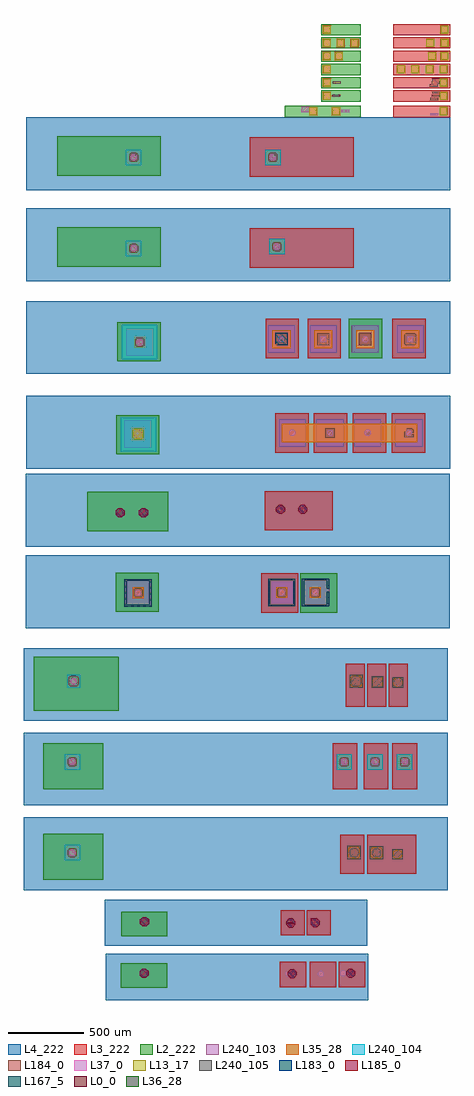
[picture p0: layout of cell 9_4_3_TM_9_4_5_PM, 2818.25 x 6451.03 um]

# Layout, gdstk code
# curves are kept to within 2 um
import gdstk
lib = gdstk.Library(unit=1e-6, precision=1e-09)
def R(c, l, rs):  # rectangles x0, y0, x1, y1
    for r in rs: c.add(gdstk.rectangle(r[:2], r[2:], *l))
def P(c, l, *ps):  # polygons
    for p in ps: c.add(gdstk.Polygon(p, *l))
L0_0 = (0, 0)
L2_222 = (2, 222)
L3_222 = (3, 222)
L4_222 = (4, 222)
L13_17 = (13, 17)
L35_28 = (35, 28)
L36_28 = (36, 28)
L37_0 = (37, 0)
L167_5 = (167, 5)
L183_0 = (183, 0)
L184_0 = (184, 0)
L185_0 = (185, 0)
L240_103 = (240, 103)
L240_104 = (240, 104)
L240_105 = (240, 105)

topcell_pm = lib.new_cell('TOPCELL_PM')
R(topcell_pm, L2_222, [(-1101.002,-186.753,-600.971,-112.014), (-860.529,-84.846,-600.971,-10.107), (-860.529,3.024,-600.971,77.763), (-860.529,91.69,-600.971,166.429), (-860.529,178.609,-600.971,253.348), (-860.529,267.539,-600.971,342.278), (-860.529,354.055,-600.971,428.794)])
R(topcell_pm, L3_222, [(-384.191,-186.753,-8.786,-112.014), (-384.191,-84.846,-8.786,-10.107), (-384.191,3.024,-8.786,77.763), (-384.191,91.69,-8.786,166.429), (-384.191,178.609,-8.786,253.348), (-384.191,267.539,-8.786,342.278), (-384.191,354.055,-8.786,428.794)])
R(topcell_pm, L13_17, [(-939.34,-172.776,-889.34,-122.776), (-788.179,-172.776,-738.179,-122.776), (-77.164,-172.776,-27.164,-122.776), (-849.322,-70.869,-799.322,-20.869), (-77.164,-70.869,-27.164,-20.869), (-849.322,17.001,-799.322,67.001), (-77.164,17.001,-27.164,67.001), (-849.322,104.544,-799.322,154.544), (-359.44,104.544,-309.44,154.544), (-265.312,104.544,-215.312,154.544), (-169.262,104.544,-119.262,154.544), (-76.676,104.544,-26.676,154.544), (-849.322,192.361,-799.322,242.361), (-769.322,192.361,-719.322,242.361), (-152.838,192.361,-102.838,242.361), (-72.839,192.361,-22.839,242.361), (-849.322,278.638,-799.322,328.638), (-757.502,278.638,-707.502,329.638), (-666.208,278.638,-615.208,328.638), (-165.52,278.638,-115.53,328.638), (-71.409,278.638,-21.409,328.628), (-849.322,366.976,-799.322,416.976), (-72.483,366.976,-22.483,416.966)])
R(topcell_pm, L35_28, [(-941.34,-174.776,-887.34,-120.776), (-790.179,-174.776,-736.179,-120.776), (-79.164,-174.776,-25.164,-120.776), (-851.322,-72.869,-797.322,-18.869), (-79.164,-72.869,-25.164,-18.869), (-851.322,15.001,-797.322,69.001), (-79.164,15.001,-25.164,69.001), (-851.322,102.144,-797.222,156.744), (-267.312,102.544,-213.312,154.534), (-169.262,102.544,-117.262,156.544), (-78.676,102.544,-24.686,156.544), (-361.44,104.534,-307.44,156.544), (-851.322,190.361,-797.322,244.361), (-771.322,190.361,-717.322,244.361), (-154.838,190.361,-100.838,244.361), (-74.839,190.361,-20.839,244.361), (-851.322,276.638,-797.322,330.638), (-759.502,276.638,-705.502,331.638), (-668.208,276.638,-613.208,330.638), (-167.52,276.638,-113.53,330.638), (-73.409,276.638,-19.409,330.628), (-851.322,364.976,-797.322,418.976), (-74.483,364.976,-20.483,418.976)])
R(topcell_pm, L37_0, [(-140.53,-175.509,-86.14,-159.796), (-939.34,-172.776,-889.34,-122.776), (-788.179,-172.776,-738.179,-122.776), (-77.164,-172.776,-27.164,-122.776), (-993.73,-155.189,-939.34,-139.476), (-729.179,-155.189,-674.789,-139.476), (-990.825,-135.462,-936.435,-119.749), (-849.322,-70.869,-799.322,-20.869), (-77.164,-70.869,-27.164,-20.869), (-849.322,17.001,-799.322,67.001), (-77.164,17.001,-27.164,67.001), (-849.322,104.544,-799.322,154.544), (-359.44,104.544,-309.44,154.544), (-265.312,104.544,-215.312,154.544), (-169.262,104.544,-119.262,154.544), (-76.676,104.544,-26.676,154.544), (-849.322,192.361,-799.322,242.361), (-769.322,192.361,-719.322,242.361), (-152.838,192.361,-102.838,242.361), (-72.839,192.361,-22.839,242.361), (-849.322,278.638,-799.322,328.638), (-757.502,278.638,-707.502,329.638), (-666.208,278.638,-615.208,328.638), (-165.52,278.638,-115.53,328.638), (-71.409,278.638,-21.409,328.628), (-849.322,366.976,-799.322,416.976), (-72.483,366.976,-22.483,416.976)])
R(topcell_pm, L184_0, [(-141.549,-73.602,-87.159,-57.889), (-789.322,-53.282,-734.932,-37.569), (-131.554,-53.282,-77.164,-37.569), (-128.649,-33.555,-74.259,-17.842), (-144.553,14.268,-90.163,29.981), (-786.322,34.588,-731.932,50.301), (-131.554,34.588,-77.164,50.301), (-128.649,54.315,-74.259,70.028)])
topcell_pm.add(gdstk.Label('PM.5c_WBOND_ONLY', (-299.024,-184.035), layer=11, texttype=222))
topcell_pm.add(gdstk.Label('PM.5b_GBUMP_ONLY', (-277.685,-82.128), layer=11, texttype=222))
topcell_pm.add(gdstk.Label('PM.5a_SBUMP_ONLY', (-288.949,5.742), layer=11, texttype=222))
topcell_pm.add(gdstk.Label('PM.5b_GBUMP_ONLY', (-717.323,-82.128), layer=11, texttype=222))
topcell_pm.add(gdstk.Label('PM.5c_WBOND_ONLY', (-820.844,-184.035), layer=11, texttype=222))
topcell_pm.add(gdstk.Label('PM.1', (-368.15,356.773), layer=11, texttype=222))
topcell_pm.add(gdstk.Label('PM.2', (-368.15,270.257), layer=11, texttype=222))
topcell_pm.add(gdstk.Label('PM.3', (-368.15,181.327), layer=11, texttype=222))
topcell_pm.add(gdstk.Label('PM.4', (-368.15,94.408), layer=11, texttype=222))
topcell_pm.add(gdstk.Label('PM.4', (-844.488,94.408), layer=11, texttype=222))
topcell_pm.add(gdstk.Label('PM.3', (-844.488,181.327), layer=11, texttype=222))
topcell_pm.add(gdstk.Label('PM.2', (-844.488,270.257), layer=11, texttype=222))
topcell_pm.add(gdstk.Label('PM.1', (-844.488,356.773), layer=11, texttype=222))
topcell_pm.add(gdstk.Label('PM.5a_SBUMP_ONLY', (-708.639,5.742), layer=11, texttype=222))
topcell_pm.add(gdstk.Label('1 Error', (-448.725,369.281), layer=12, texttype=222))
topcell_pm.add(gdstk.Label('2 Error', (-448.725,282.254), layer=12, texttype=222))
topcell_pm.add(gdstk.Label('1 Error', (-448.725,197.43), layer=12, texttype=222))
topcell_pm.add(gdstk.Label('4 Error', (-448.725,117.012), layer=12, texttype=222))
topcell_pm.add(gdstk.Label('For Solder Bump', (-448.725,22.837), layer=12, texttype=222))
topcell_pm.add(gdstk.Label('PM.5', (-449.188,50.211), layer=12, texttype=222))
topcell_pm.add(gdstk.Label('PM.4', (-449.188,140.215), layer=12, texttype=222))
topcell_pm.add(gdstk.Label('PM.3', (-449.188,223.968), layer=12, texttype=222))
topcell_pm.add(gdstk.Label('PM.2', (-449.188,310.221), layer=12, texttype=222))
topcell_pm.add(gdstk.Label('PM.1', (-449.188,396.475), layer=12, texttype=222))
topcell_pm.add(gdstk.Label('PM.5', (-449.188,-37.659), layer=12, texttype=222))
topcell_pm.add(gdstk.Label('For Gold Bump', (-448.725,-65.033), layer=12, texttype=222))
topcell_pm.add(gdstk.Label('For Wire Bond', (-448.725,-166.94), layer=12, texttype=222))
topcell_pm.add(gdstk.Label('PM.5', (-449.188,-139.566), layer=12, texttype=222))

topcell_tm = lib.new_cell('TOPCELL_TM')
R(topcell_tm, L0_0, [(429.49,396.91,469.88,401.85)])
R(topcell_tm, L2_222, [(-673.916,-28.003,-367.564,136.956), (-671.276,312.499,-364.924,477.458), (-1184.228,687.07,-789.16,991.684), (-1184.228,1286.46,-789.16,1591.074), (-1247.281,1803.21,-688.025,2162.732), (512.966,2452.051,756.456,2711.762), (-707.263,2457.214,-420.977,2716.925), (-893.748,2991.866,-359.132,3251.577), (-703.841,3498.386,-417.555,3758.097), (-696.741,4113.197,-410.455,4372.908), (835.056,4134.693,1054.786,4394.404), (-1094.878,4739.359,-410.455,4999.07), (-1094.878,5341.272,-410.455,5600.983)])
R(topcell_tm, L3_222, [(377.698,-22.112,553.614,144.321), (576.111,-22.112,752.027,144.321), (767.439,-22.112,943.355,144.321), (383.743,320.947,542.773,487.38), (557.064,320.947,716.094,487.38), (777.482,727.669,936.541,984.984), (954.959,727.669,1114.018,984.984), (1118.931,727.669,1277.99,984.984), (726.916,1286.46,890.12,1591.074), (931.81,1286.46,1095.014,1591.074), (1122.256,1286.46,1285.46,1591.074), (813.723,1831.887,939.046,2114.06), (955.969,1831.887,1081.292,2114.06), (1096.873,1831.887,1222.196,2114.06), (255.086,2452.051,498.576,2711.762), (278.157,2996.777,727.519,3256.488), (348.644,3511.073,570.385,3770.784), (602.182,3511.073,823.923,3770.784), (859.438,3511.073,1081.179,3770.784), (1118.916,3511.073,1340.657,3770.784), (283.358,4134.693,503.088,4394.404), (561.323,4134.693,781.053,4394.404), (1122.016,4134.693,1341.746,4394.404), (180.476,4733.336,864.899,4993.047), (180.476,5335.249,864.899,5594.96)])
R(topcell_tm, L4_222, [(-773.688,-107.466,962.508,198.141), (-780.287,250.193,955.909,555.8), (-1314.287,618.103,1488.446,1099.314), (-1314.287,1178.402,1488.446,1659.613), (-1314.287,1737.754,1488.446,2218.965), (-1302.141,2351.122,1500.592,2832.333), (-1302.141,2889.697,1500.592,3370.908), (-1298.767,3403.903,1503.966,3885.114), (-1298.767,4030.847,1503.966,4512.058), (-1298.767,4642.889,1503.966,5124.1), (-1298.767,5244.802,1503.966,5726.013)])
P(topcell_tm, L13_17, [(-585.484,3598.129),(-595.484,3608.129),(-595.484,3658.129),(-585.484,3668.129),(-535.484,3668.129),(-525.484,3658.129),(-525.484,3608.129),(-535.484,3598.129)])
R(topcell_tm, L35_28, [(989.046,1959.23,1059.046,2029.23), (-594.906,2547.086,-522.906,2619.086), (354.654,2549.89,426.654,2621.89), (576.932,2549.89,648.932,2621.89), (390.504,3580.149,1285.143,3701.951), (-601.484,3592.129,-519.484,3674.129), (424.627,3604.816,496.627,3676.816), (673.992,3604.816,745.992,3676.816), (923.008,3604.816,995.008,3676.816), (1195.046,3604.816,1267.046,3676.816), (328.758,4200.924,448.758,4320.924), (604.137,4200.924,724.137,4320.924), (883.37,4200.924,1003.37,4320.924), (1179.44,4200.924,1299.44,4320.924), (-584.384,4203.428,-512.384,4275.428)])
P(topcell_tm, L35_28, [(1154.621,1467.016),(1154.621,1495.974),(1172.621,1513.974),(1232.621,1513.974),(1250.621,1495.974),(1250.621,1467.016)],
  [(1172.621,1417.974),(1154.621,1435.974),(1154.621,1455.947),(1250.621,1455.947),(1250.621,1435.974),(1232.621,1417.974)],
  [(-1023.432,1417.974),(-1041.432,1435.974),(-1041.432,1495.974),(-1023.432,1513.974),(-963.432,1513.974),(-945.432,1495.974),(-945.432,1435.974),(-963.432,1417.974)],
  [(328.077,4824.431),(310.077,4842.431),(310.077,4902.431),(328.077,4920.431),(388.077,4920.431),(406.077,4902.431),(406.077,4842.431),(388.077,4824.431)],
  [(-618.056,5413.888),(-636.056,5431.888),(-636.056,5491.888),(-618.056,5509.888),(-558.056,5509.888),(-540.056,5491.888),(-540.056,5431.888),(-558.056,5413.888)],
  [(301.458,5413.888),(283.458,5431.888),(283.458,5491.888),(301.458,5509.888),(361.458,5509.888),(379.458,5491.888),(379.458,5431.888),(361.458,5413.888)],
  [(-618.056,4811.975),(-636.056,4829.975),(-636.056,4889.975),(-618.056,4907.975),(-558.056,4907.975),(-540.056,4889.975),(-540.056,4829.975),(-558.056,4811.975)],
  [(-1023.432,818.584),(-1041.432,836.584),(-1041.432,896.584),(-1023.432,914.584),(-963.432,914.584),(-945.432,896.584),(-945.432,836.584),(-963.432,818.584)],
  [(844.568,824.584),(826.568,842.584),(826.568,890.584),(844.568,908.584),(892.568,908.584),(910.568,890.584),(910.568,842.584),(892.568,824.584)],
  [(994.568,824.584),(976.568,842.584),(976.568,888.584),(994.568,906.584),(1040.568,906.584),(1058.568,888.584),(1058.568,842.584),(1040.568,824.584)],
  [(-1007.454,1959.13),(-1025.454,1977.13),(-1025.454,2022.73),(-1007.454,2040.73),(-961.854,2040.73),(-943.854,2022.73),(-943.854,1977.13),(-961.854,1959.13)],
  [(859.646,1959.23),(841.646,1977.23),(841.646,2022.63),(859.646,2040.63),(905.046,2040.63),(923.046,2022.63),(923.046,1977.23),(905.046,1959.23)],
  [(994.983,1454.635),(994.983,1482.462),(1015.79,1482.462),(1022.512,1475.74),(1022.512,1454.635)],
  [(1142.568,824.584),(1124.568,842.584),(1124.568,868.584),(1142.568,886.584),(1168.568,886.584),(1186.568,868.584),(1186.568,842.584),(1168.568,824.584)],
  [(1143.046,1959.23),(1125.046,1977.23),(1125.046,2005.23),(1143.046,2023.23),(1171.046,2023.23),(1189.046,2005.23),(1189.046,1977.23),(1171.046,1959.23)],
  [(773.607,1417.974),(755.607,1435.974),(755.607,1455.947),(782.867,1455.947),(782.867,1467.016),(755.607,1467.016),(755.607,1495.974),(773.607,1513.974),(833.607,1513.974),(851.607,1495.974),(851.607,1435.974),(833.607,1417.974)])
R(topcell_tm, L36_28, [(-556.056,4852.629,-555.796,4852.889), (-556.009,4853.935,-555.749,4854.195), (-560.316,4855.563,-560.056,4855.823), (-560.35,4856.902,-560.09,4857.162), (-562.642,4875.551,-562.382,4875.811), (329.409,4876.583,329.669,4876.843), (326.547,4878.211,326.807,4878.471), (-556.152,4878.847,-555.892,4879.107), (327.969,4879.517,328.229,4879.777), (327.817,4880.653,328.077,4880.913), (328.077,4881.52,328.337,4881.78), (330.041,4890.812,330.301,4891.072), (330.111,4893.2,330.371,4893.46), (332.138,4893.2,332.398,4893.46), (331.843,4894.465,332.103,4894.725), (-566.056,5454.216,-565.796,5454.476), (351.315,5454.216,351.575,5454.476), (-566.009,5455.522,-565.749,5455.782), (352.405,5455.522,352.665,5455.782), (-570.316,5457.15,-570.056,5457.41), (350.348,5457.15,350.608,5457.41), (-570.35,5458.489,-570.09,5458.749), (351.198,5458.489,351.458,5458.749), (351.458,5459.869,351.718,5460.129), (350.278,5473.068,350.538,5473.328), (347.942,5474.884,348.202,5475.144), (-577.784,5477.464,-577.524,5477.724), (344.193,5477.464,344.453,5477.724), (346.848,5477.489,347.108,5477.749), (-571.294,5480.76,-571.034,5481.02)])
R(topcell_tm, L37_0, [(644.137,4240.924,684.137,4280.924), (1219.44,4240.924,1259.44,4280.924)])
P(topcell_tm, L37_0, [(-531.467,3093.4),(-543.181,3105.114),(-543.181,3121.686),(-531.467,3133.4),(-514.895,3133.4),(-503.181,3121.686),(-503.181,3105.114),(-514.895,3093.4)],
  [(-686.333,3093.4),(-698.047,3105.114),(-698.047,3121.686),(-686.333,3133.4),(-669.761,3133.4),(-658.047,3121.686),(-658.047,3117.605),(-658.247,3117.605),(-658.247,3113.26),(-658.047,3113.26),(-658.047,3105.114),(-669.761,3093.4)],
  [(374.073,3114.954),(362.359,3126.668),(362.359,3143.24),(374.073,3154.954),(390.645,3154.954),(402.359,3143.24),(402.359,3126.668),(390.645,3114.954)],
  [(521.823,3114.954),(510.109,3126.668),(510.109,3130.749),(510.309,3130.749),(510.309,3135.094),(510.109,3135.094),(510.109,3143.24),(521.823,3154.954),(538.395,3154.954),(550.109,3143.24),(550.109,3126.668),(538.395,3114.954)],
  [(1192.621,1445.974),(1182.621,1455.974),(1182.621,1475.974),(1192.621,1485.974),(1212.621,1485.974),(1222.621,1475.974),(1222.621,1455.974),(1212.621,1445.974)],
  [(997.1,1445.974),(987.1,1455.974),(987.1,1475.974),(997.1,1485.974),(1017.1,1485.974),(1027.1,1475.974),(1027.1,1455.974),(1017.1,1445.974)],
  [(793.607,1445.974),(783.607,1455.974),(783.607,1475.974),(793.607,1485.974),(813.607,1485.974),(823.607,1475.974),(823.607,1455.974),(813.607,1445.974)],
  [(-1003.432,1445.974),(-1013.432,1455.974),(-1013.432,1475.974),(-1003.432,1485.974),(-983.432,1485.974),(-973.432,1475.974),(-973.432,1455.974),(-983.432,1445.974)],
  [(-524.944,390.362),(-536.658,402.076),(-536.658,418.648),(-524.944,430.362),(-508.372,430.362),(-496.658,418.648),(-496.658,402.076),(-508.372,390.362)],
  [(604.428,383.64),(592.714,395.354),(592.714,423.64),(621,423.64),(632.714,411.926),(632.714,395.354),(621,383.64)],
  [(441.509,381.425),(429.795,393.139),(429.795,397.22),(429.995,397.22),(429.995,401.565),(429.795,401.565),(429.795,409.711),(441.509,421.425),(458.081,421.425),(469.795,409.711),(469.795,393.139),(458.081,381.425)],
  [(787.344,49.944),(775.63,61.658),(775.63,78.23),(787.344,89.944),(803.916,89.944),(815.63,78.23),(815.63,61.658),(803.916,49.944)],
  [(640.75,45.376),(629.036,57.09),(629.036,73.662),(640.75,85.376),(657.322,85.376),(669.036,73.662),(669.036,57.09),(657.322,45.376)],
  [(424.754,47.108),(413.04,58.822),(413.04,75.394),(424.754,87.108),(441.326,87.108),(453.04,75.394),(453.04,58.822),(441.326,47.108)],
  [(-527.584,49.86),(-539.298,61.574),(-539.298,78.146),(-527.584,89.86),(-511.012,89.86),(-499.298,78.146),(-499.298,61.574),(-511.012,49.86)],
  [(348.077,4852.431),(338.077,4862.431),(338.077,4882.431),(348.077,4892.431),(368.077,4892.431),(378.077,4882.431),(378.077,4862.431),(368.077,4852.431)],
  [(-598.056,5441.888),(-608.056,5451.888),(-608.056,5471.888),(-598.056,5481.888),(-578.056,5481.888),(-568.056,5471.888),(-568.056,5451.888),(-578.056,5441.888)],
  [(321.458,5441.888),(311.458,5451.888),(311.458,5471.888),(321.458,5481.888),(341.458,5481.888),(351.458,5471.888),(351.458,5451.888),(341.458,5441.888)],
  [(-598.056,4839.975),(-608.056,4849.975),(-608.056,4869.975),(-598.056,4879.975),(-578.056,4879.975),(-568.056,4869.975),(-568.056,4849.975),(-578.056,4839.975)],
  [(-1003.432,846.584),(-1013.432,856.584),(-1013.432,876.584),(-1003.432,886.584),(-983.432,886.584),(-973.432,876.584),(-973.432,856.584),(-983.432,846.584)],
  [(858.568,846.584),(848.568,856.584),(848.568,876.584),(858.568,886.584),(878.568,886.584),(888.568,876.584),(888.568,856.584),(878.568,846.584)],
  [(1007.568,845.584),(997.568,855.584),(997.568,875.584),(1007.568,885.584),(1027.568,885.584),(1037.568,875.584),(1037.568,855.584),(1027.568,845.584)],
  [(1145.568,835.584),(1135.568,845.584),(1135.568,865.584),(1145.568,875.584),(1165.568,875.584),(1175.568,865.584),(1175.568,845.584),(1165.568,835.584)],
  [(-994.654,1979.93),(-1004.654,1989.93),(-1004.654,2009.93),(-994.654,2019.93),(-974.654,2019.93),(-964.654,2009.93),(-964.654,1989.93),(-974.654,1979.93)],
  [(872.346,1979.93),(862.346,1989.93),(862.346,2009.93),(872.346,2019.93),(892.346,2019.93),(902.346,2009.93),(902.346,1989.93),(892.346,1979.93)],
  [(1014.046,1974.23),(1004.046,1984.23),(1004.046,2004.23),(1014.046,2014.23),(1034.046,2014.23),(1044.046,2004.23),(1044.046,1984.23),(1034.046,1974.23)],
  [(1147.046,1971.23),(1137.046,1981.23),(1137.046,2001.23),(1147.046,2011.23),(1167.046,2011.23),(1177.046,2001.23),(1177.046,1981.23),(1167.046,1971.23)],
  [(378.758,4240.924),(368.758,4250.924),(368.758,4270.924),(378.758,4280.924),(398.758,4280.924),(408.758,4270.924),(408.758,4250.924),(398.758,4240.924)],
  [(933.37,4240.924),(923.37,4250.924),(923.37,4270.924),(933.37,4280.924),(953.37,4280.924),(963.37,4270.924),(963.37,4250.924),(953.37,4240.924)],
  [(-558.384,4219.428),(-568.384,4229.428),(-568.384,4249.428),(-558.384,4259.428),(-538.384,4259.428),(-528.384,4249.428),(-528.384,4229.428),(-538.384,4219.428)],
  [(602.932,2565.89),(592.932,2575.89),(592.932,2595.89),(602.932,2605.89),(622.932,2605.89),(632.932,2595.89),(632.932,2575.89),(622.932,2565.89)],
  [(380.654,2565.89),(370.654,2575.89),(370.654,2595.89),(380.654,2605.89),(400.654,2605.89),(410.654,2595.89),(410.654,2575.89),(400.654,2565.89)],
  [(-568.906,2563.086),(-578.906,2573.086),(-578.906,2593.086),(-568.906,2603.086),(-548.906,2603.086),(-538.906,2593.086),(-538.906,2573.086),(-548.906,2563.086)],
  [(-575.484,3608.129),(-585.484,3618.129),(-585.484,3648.129),(-575.484,3658.129),(-545.484,3658.129),(-535.484,3648.129),(-535.484,3618.129),(-545.484,3608.129)],
  [(450.627,3620.816),(440.627,3630.816),(440.627,3650.816),(450.627,3660.816),(470.627,3660.816),(480.627,3650.816),(480.627,3630.816),(470.627,3620.816)],
  [(699.992,3620.816),(689.992,3630.816),(689.992,3650.816),(699.992,3660.816),(719.992,3660.816),(729.992,3650.816),(729.992,3630.816),(719.992,3620.816)],
  [(1221.046,3620.816),(1211.046,3630.816),(1211.046,3650.816),(1221.046,3660.816),(1241.046,3660.816),(1251.046,3650.816),(1251.046,3630.816),(1241.046,3620.816)],
  [(949.008,3620.816),(939.008,3630.816),(939.008,3650.816),(949.008,3660.816),(969.008,3660.816),(979.008,3650.816),(979.008,3630.816),(969.008,3620.816)],
  [(368.758,4240.924),(368.758,4280.924),(391.91,4280.924),(391.91,4263.573),(408.758,4263.573),(408.758,4240.924)])
P(topcell_tm, L167_5, [(522.932,2495.89),(522.932,2675.89),(702.932,2675.89),(702.932,2610.89),(688.14,2610.89),(688.14,2665.534),(538.128,2665.534),(538.128,2506.246),(688.14,2506.246),(688.14,2589.671),(702.932,2589.671),(702.932,2495.89)],
  [(-648.906,2493.086),(-648.906,2583.086),(-634.114,2583.086),(-634.114,2503.442),(-484.102,2503.442),(-484.102,2662.73),(-634.114,2662.73),(-634.114,2583.086),(-648.906,2583.086),(-648.906,2673.086),(-468.906,2673.086),(-468.906,2493.086)],
  [(300.654,2495.89),(300.654,2555.39),(300.702,2555.39),(300.702,2611.926),(300.654,2611.926),(300.654,2675.89),(480.654,2675.89),(480.654,2585.89),(465.862,2585.89),(465.862,2665.534),(315.85,2665.534),(315.85,2506.246),(465.862,2506.246),(465.862,2585.89),(480.654,2585.89),(480.654,2495.89)])
P(topcell_tm, L183_0, [(-535.609,3083.4),(-553.181,3100.972),(-553.181,3125.828),(-535.609,3143.4),(-510.753,3143.4),(-493.181,3125.828),(-493.181,3100.972),(-510.753,3083.4)],
  [(-690.475,3083.4),(-708.037,3100.962),(-708.037,3125.838),(-690.475,3143.4),(-665.619,3143.4),(-648.047,3125.828),(-648.047,3100.972),(-665.619,3083.4)],
  [(517.681,3104.954),(500.109,3122.526),(500.109,3147.382),(517.681,3164.954),(542.537,3164.954),(560.099,3147.392),(560.099,3122.516),(542.537,3104.954)],
  [(369.931,3104.954),(352.359,3122.526),(352.359,3147.382),(369.931,3164.954),(394.787,3164.954),(412.359,3147.382),(412.359,3122.526),(394.787,3104.954)],
  [(-529.086,380.362),(-546.658,397.934),(-546.658,422.79),(-529.086,440.362),(-504.23,440.362),(-486.658,422.79),(-486.658,397.934),(-504.23,380.362)],
  [(600.286,373.64),(582.714,391.212),(582.714,433.64),(625.142,433.64),(642.714,416.068),(642.714,391.212),(625.142,373.64)],
  [(437.367,371.425),(419.795,388.997),(419.795,413.853),(437.367,431.425),(462.223,431.425),(479.785,413.863),(479.785,388.987),(462.223,371.425)],
  [(833.202,39.944),(815.63,57.516),(815.63,82.372),(833.202,99.944),(858.058,99.944),(875.63,82.372),(875.63,57.516),(858.058,39.944)],
  [(446.849,37.108),(429.277,54.68),(429.277,79.536),(446.849,97.108),(471.705,97.108),(489.277,79.536),(489.277,54.68),(471.705,37.108)],
  [(-531.726,39.86),(-549.298,57.432),(-549.298,82.288),(-531.726,99.86),(-506.87,99.86),(-489.298,82.288),(-489.298,57.432),(-506.87,39.86)],
  [(363.851,4220.924),(363.851,4234.293),(348.758,4234.293),(348.758,4304.23),(430.734,4304.23),(430.734,4220.924)])
R(topcell_tm, L184_0, [(989.046,1959.23,1059.046,2029.23), (949.029,3630.993,968.044,3650.007), (624.137,4220.924,704.137,4300.924), (903.37,4220.924,983.37,4300.924)])
P(topcell_tm, L184_0, [(-992.154,1964.93),(-1006.522,1968.983),(-1016.655,1979.945),(-1019.639,1991.566),(-1018.027,2016.744),(-1011.29,2027.177),(-1000.651,2033.583),(-967.839,2033.303),(-957.406,2026.566),(-951,2015.927),(-951.28,1983.115),(-956.814,1973.922),(-965.837,1967.367)],
  [(878.346,1964.93),(863.84,1968.534),(852.707,1978.506),(847.655,1991.562),(847.99,2010.216),(853.556,2022.543),(863.84,2031.326),(874.944,2034.743),(892.632,2034.286),(904.959,2028.72),(913.742,2018.436),(917.159,2007.332),(916.702,1989.644),(911.708,1978.105),(902.956,1969.756),(892.155,1965.479)],
  [(1153.046,1956.23),(1138.54,1959.834),(1127.407,1969.806),(1122.355,1982.862),(1122.69,2001.516),(1128.256,2013.843),(1138.54,2022.626),(1149.644,2026.043),(1167.332,2025.586),(1179.659,2020.02),(1188.442,2009.736),(1191.859,1998.632),(1191.402,1980.944),(1186.408,1969.405),(1177.656,1961.056),(1166.855,1956.779)],
  [(358.758,4220.924),(348.758,4230.924),(348.758,4290.924),(358.758,4300.924),(418.758,4300.924),(428.758,4290.924),(428.758,4230.924),(418.758,4220.924)],
  [(1209.44,4220.924),(1199.44,4230.924),(1199.44,4290.924),(1209.44,4300.924),(1269.44,4300.924),(1279.44,4290.924),(1279.44,4230.924),(1269.44,4220.924)],
  [(-535.609,3083.4),(-553.181,3100.972),(-553.181,3125.828),(-535.609,3143.4),(-510.753,3143.4),(-493.181,3125.828),(-493.181,3100.972),(-510.753,3083.4)],
  [(-690.475,3083.4),(-708.037,3100.962),(-708.037,3125.838),(-690.475,3143.4),(-665.619,3143.4),(-648.047,3125.828),(-648.047,3100.972),(-665.619,3083.4)],
  [(369.931,3104.954),(352.359,3122.526),(352.359,3147.382),(369.931,3164.954),(394.787,3164.954),(412.359,3147.382),(412.359,3122.526),(394.787,3104.954)],
  [(517.681,3104.954),(500.109,3122.526),(500.109,3147.382),(517.681,3164.954),(542.537,3164.954),(560.099,3147.392),(560.099,3122.516),(542.537,3104.954)],
  [(1192.621,1435.974),(1181.122,1439.611),(1173.804,1449.199),(1174.802,1485.053),(1180.614,1491.967),(1188.874,1495.619),(1221.701,1493.793),(1228.615,1487.981),(1232.267,1479.721),(1230.441,1446.894),(1218.201,1436.768)],
  [(997.1,1435.974),(985.601,1439.611),(978.283,1449.199),(979.281,1485.053),(985.093,1491.967),(993.353,1495.619),(1026.18,1493.793),(1033.094,1487.981),(1036.746,1479.721),(1034.92,1446.894),(1022.68,1436.768)],
  [(793.607,1435.974),(782.108,1439.611),(774.79,1449.199),(775.788,1485.053),(781.6,1491.967),(789.86,1495.619),(822.687,1493.793),(829.601,1487.981),(833.253,1479.721),(831.427,1446.894),(819.187,1436.768)],
  [(-1003.432,1435.974),(-1014.931,1439.611),(-1022.249,1449.199),(-1021.251,1485.053),(-1015.439,1491.967),(-1007.179,1495.619),(-974.352,1493.793),(-967.438,1487.981),(-963.786,1479.721),(-965.612,1446.894),(-977.852,1436.768)],
  [(-529.086,380.362),(-546.658,397.934),(-546.658,422.79),(-529.086,440.362),(-504.23,440.362),(-486.658,422.79),(-486.658,397.934),(-504.23,380.362)],
  [(600.286,373.64),(582.714,391.212),(582.714,433.64),(625.142,433.64),(642.714,416.068),(642.714,391.212),(625.142,373.64)],
  [(437.367,371.425),(419.795,388.997),(419.795,413.853),(437.367,431.425),(462.223,431.425),(479.785,413.863),(479.785,388.987),(462.223,371.425)],
  [(833.202,39.944),(815.63,57.516),(815.63,82.372),(833.202,99.944),(858.058,99.944),(875.63,82.372),(875.63,57.516),(858.058,39.944)],
  [(446.849,37.108),(429.277,54.68),(429.277,79.536),(446.849,97.108),(471.705,97.108),(489.277,79.536),(489.277,54.68),(471.705,37.108)],
  [(-531.726,39.86),(-549.298,57.432),(-549.298,82.288),(-531.726,99.86),(-506.87,99.86),(-489.298,82.288),(-489.298,57.432),(-506.87,39.86)],
  [(-598.056,4829.975),(-609.555,4833.612),(-616.873,4843.2),(-615.875,4879.054),(-610.063,4885.968),(-601.803,4889.62),(-568.976,4887.794),(-562.062,4881.982),(-558.41,4873.722),(-560.236,4840.895),(-572.476,4830.769)],
  [(348.077,4842.431),(336.577,4846.069),(329.259,4855.657),(330.257,4891.511),(336.069,4898.425),(344.329,4902.077),(377.156,4900.251),(384.07,4894.439),(387.722,4886.179),(385.896,4853.352),(373.656,4843.226)],
  [(-598.056,5431.888),(-609.555,5435.525),(-616.873,5445.113),(-615.875,5480.967),(-610.063,5487.881),(-601.803,5491.533),(-568.976,5489.707),(-562.062,5483.895),(-558.41,5475.635),(-560.236,5442.808),(-572.476,5432.682)],
  [(321.458,5431.888),(309.959,5435.525),(302.641,5445.113),(303.639,5480.967),(309.451,5487.881),(317.711,5491.533),(350.538,5489.707),(357.452,5483.895),(361.104,5475.635),(359.278,5442.808),(347.038,5432.682)],
  [(-1003.432,836.584),(-1014.931,840.221),(-1022.249,849.809),(-1021.251,885.663),(-1015.439,892.577),(-1007.179,896.229),(-974.352,894.403),(-967.438,888.591),(-963.786,880.331),(-965.612,847.504),(-977.852,837.378)],
  [(865.568,836.584),(852.934,839.722),(843.479,848.059),(838.971,858.941),(838.971,874.226),(843.238,884.76),(851.825,892.823),(861.764,896.314),(876.211,896.181),(886.745,891.914),(894.808,883.327),(898.299,873.388),(898.166,858.941),(894.365,849.116),(886.745,841.253)],
  [(1015.568,836.584),(1003.69,839.337),(994.235,847.035),(989.219,857.694),(988.782,870.968),(992.548,881.691),(1000.392,889.914),(1010.509,894.105),(1022.953,894.37),(1033.676,890.604),(1041.899,882.76),(1046.09,872.643),(1046.355,860.199),(1043.021,850.206),(1036.117,842.25),(1026.693,837.541)],
  [(1154.568,836.584),(1140.7,843.11),(1136.649,858.278),(1143.761,870.978),(1158.263,874.503),(1170.963,867.391),(1174.488,852.889),(1168.042,840.715)],
  [(-568.384,4209.428),(-578.384,4219.428),(-578.384,4259.428),(-568.384,4269.428),(-528.384,4269.428),(-518.384,4259.428),(-518.384,4219.428),(-528.384,4209.428)],
  [(592.932,2555.89),(582.932,2565.89),(582.932,2605.89),(592.932,2615.89),(632.932,2615.89),(642.932,2605.89),(642.932,2565.89),(632.932,2555.89)],
  [(370.654,2555.89),(360.654,2565.89),(360.654,2605.89),(370.654,2615.89),(410.654,2615.89),(420.654,2605.89),(420.654,2565.89),(410.654,2555.89)],
  [(-578.906,2553.086),(-588.906,2563.086),(-588.906,2603.086),(-578.906,2613.086),(-538.906,2613.086),(-528.906,2603.086),(-528.906,2563.086),(-538.906,2553.086)],
  [(1199.81,3610.687),(1199.81,3646.855),(1216.266,3646.855),(1216.266,3671.991),(1251.169,3671.991),(1263.104,3660.056),(1263.104,3643.238),(1250.137,3643.238),(1250.137,3632.026),(1262.019,3632.026),(1262.019,3610.687)],
  [(677.374,3608.791),(677.374,3641.672),(703.022,3641.672),(703.022,3635.973),(717.051,3635.973),(717.051,3647.372),(703.022,3647.372),(703.022,3641.672),(677.374,3641.672),(677.374,3673.019),(741.822,3673.019),(741.822,3608.791)])
P(topcell_tm, L185_0, [(-535.609,3083.4),(-553.181,3100.972),(-553.181,3125.828),(-535.609,3143.4),(-510.753,3143.4),(-493.181,3125.828),(-493.181,3100.972),(-510.753,3083.4)],
  [(-690.475,3083.4),(-708.037,3100.962),(-708.037,3125.838),(-690.475,3143.4),(-665.619,3143.4),(-648.047,3125.828),(-648.047,3100.972),(-665.619,3083.4)],
  [(369.931,3104.954),(352.359,3122.526),(352.359,3147.382),(369.931,3164.954),(394.787,3164.954),(412.359,3147.382),(412.359,3122.526),(394.787,3104.954)],
  [(517.681,3104.954),(500.109,3122.526),(500.109,3147.382),(517.681,3164.954),(542.537,3164.954),(560.099,3147.392),(560.099,3122.516),(542.537,3104.954)],
  [(-529.086,380.362),(-546.658,397.934),(-546.658,422.79),(-529.086,440.362),(-504.23,440.362),(-486.658,422.79),(-486.658,397.934),(-504.23,380.362)],
  [(600.286,373.64),(582.714,391.212),(582.714,433.64),(625.142,433.64),(642.714,416.068),(642.714,391.212),(625.142,373.64)],
  [(437.367,371.425),(419.795,388.997),(419.795,413.853),(437.367,431.425),(462.223,431.425),(479.785,413.863),(479.785,388.987),(462.223,371.425)],
  [(833.202,39.944),(815.63,57.516),(815.63,82.372),(833.202,99.944),(858.058,99.944),(875.63,82.372),(875.63,57.516),(858.058,39.944)],
  [(446.849,37.108),(429.277,54.68),(429.277,79.536),(446.849,97.108),(471.705,97.108),(489.277,79.536),(489.277,54.68),(471.705,37.108)],
  [(-531.726,39.86),(-549.298,57.432),(-549.298,82.288),(-531.726,99.86),(-506.87,99.86),(-489.298,82.288),(-489.298,57.432),(-506.87,39.86)])
R(topcell_tm, L240_103, [(-648.906,2493.086,-468.906,2673.086), (300.654,2495.89,480.654,2675.89), (522.932,2495.89,702.932,2675.89), (-650.484,3543.129,-470.484,3723.129), (370.627,3550.816,550.627,3730.816), (619.992,3550.816,799.992,3730.816), (869.008,3550.816,1049.008,3730.816), (1141.046,3550.816,1321.046,3730.816), (-638.384,4149.428,-458.384,4329.428), (298.758,4170.924,478.758,4350.924), (574.137,4170.924,754.137,4350.924), (853.37,4170.924,1033.37,4350.924), (1149.44,4170.924,1329.44,4350.924)])
P(topcell_tm, L240_103, [(440.627,3610.816),(430.627,3620.816),(430.627,3660.816),(440.627,3670.816),(480.627,3670.816),(490.627,3660.816),(490.627,3620.816),(480.627,3610.816)],
  [(689.992,3610.816),(679.992,3620.816),(679.992,3660.816),(689.992,3670.816),(729.992,3670.816),(739.992,3660.816),(739.992,3620.816),(729.992,3610.816)],
  [(1211.046,3610.816),(1201.046,3620.816),(1201.046,3660.816),(1211.046,3670.816),(1251.046,3670.816),(1261.046,3660.816),(1261.046,3620.816),(1251.046,3610.816)],
  [(939.008,3610.816),(929.008,3620.816),(929.008,3660.816),(939.008,3670.816),(979.008,3670.816),(989.008,3660.816),(989.008,3620.816),(979.008,3610.816)])
R(topcell_tm, L240_104, [(-1044.432,815.584,-942.432,917.584), (-1044.432,1414.974,-942.432,1516.974), (752.607,1414.974,854.607,1516.974), (956.1,1414.974,1058.1,1516.974), (1151.621,1414.974,1253.621,1516.974), (-1028.454,1956.13,-940.854,2043.73), (-673.199,3517.207,-439.005,3743.776), (-666.099,4128.506,-431.905,4355.075), (-639.056,4808.975,-537.056,4910.975), (307.077,4821.431,409.077,4923.431), (-639.056,5410.888,-537.056,5512.888), (280.458,5410.888,382.458,5512.888)])
R(topcell_tm, L240_105, [(823.568,821.584,913.568,911.584), (973.568,821.584,1061.568,909.584), (1121.568,821.584,1189.568,889.584), (838.646,1956.23,926.046,2043.63), (986.046,1956.23,1062.046,2032.23), (1122.046,1956.23,1192.046,2026.23), (300.539,2555.373,300.751,2611.93)])
topcell_tm.add(gdstk.Label('TM.Note1', (-398.144,9.812), layer=11, texttype=222))
topcell_tm.add(gdstk.Label('TM.Note1', (486.417,9.812), layer=11, texttype=222))
topcell_tm.add(gdstk.Label('TM.3', (1262.619,1357.631), layer=11, texttype=222))
topcell_tm.add(gdstk.Label('TM.Note1', (684.83,9.812), layer=11, texttype=222))
topcell_tm.add(gdstk.Label('TM.Note1', (876.158,9.812), layer=11, texttype=222))
topcell_tm.add(gdstk.Label('TM.1', (-398.144,339.715), layer=11, texttype=222))
topcell_tm.add(gdstk.Label('TM.1a', (-398.144,321.614), layer=11, texttype=222))
topcell_tm.add(gdstk.Label('TM.1', (485.969,339.715), layer=11, texttype=222))
topcell_tm.add(gdstk.Label('TM.1a', (485.969,321.614), layer=11, texttype=222))
topcell_tm.add(gdstk.Label('TM.1a', (644.125,321.614), layer=11, texttype=222))
topcell_tm.add(gdstk.Label('TM.1', (644.125,339.715), layer=11, texttype=222))
topcell_tm.add(gdstk.Label('TM.2', (1054.509,751.554), layer=11, texttype=222))
topcell_tm.add(gdstk.Label('TM.5', (585.657,3011.415), layer=11, texttype=222))
topcell_tm.add(gdstk.Label('TM.6', (1068.479,3516.457), layer=11, texttype=222))
topcell_tm.add(gdstk.Label('TM.6', (811.223,3516.457), layer=11, texttype=222))
topcell_tm.add(gdstk.Label('TM.6', (557.685,3516.457), layer=11, texttype=222))
topcell_tm.add(gdstk.Label('TM.7', (1052.983,4140.077), layer=11, texttype=222))
topcell_tm.add(gdstk.Label('TM.7', (779.25,4140.077), layer=11, texttype=222))
topcell_tm.add(gdstk.Label('TM.7', (501.285,4140.077), layer=11, texttype=222))
topcell_tm.add(gdstk.Label('TM.8', (-429.407,4773.607), layer=11, texttype=222))
topcell_tm.add(gdstk.Label('TM.8', (244.09,4773.607), layer=11, texttype=222))
topcell_tm.add(gdstk.Label('TM.9_TM.10', (-429.407,5384.469), layer=11, texttype=222))
topcell_tm.add(gdstk.Label('TM.9_TM.10', (229.409,5384.469), layer=11, texttype=222))
topcell_tm.add(gdstk.Label('TM.2', (889.528,751.554), layer=11, texttype=222))
topcell_tm.add(gdstk.Label('TM.3b', (1177.009,1851.316), layer=11, texttype=222))
topcell_tm.add(gdstk.Label('TM.3b', (1027.909,1851.316), layer=11, texttype=222))
topcell_tm.add(gdstk.Label('TM.3b', (909.479,1851.316), layer=11, texttype=222))
topcell_tm.add(gdstk.Label('TM.3', (867.279,1357.631), layer=11, texttype=222))
topcell_tm.add(gdstk.Label('TM.2', (1175.531,751.554), layer=11, texttype=222))
topcell_tm.add(gdstk.Label('TM.3', (1072.173,1357.631), layer=11, texttype=222))
topcell_tm.add(gdstk.Label('TM.2', (-864.878,758.241), layer=11, texttype=222))
topcell_tm.add(gdstk.Label('TM.5', (-439.929,3011.415), layer=11, texttype=222))
topcell_tm.add(gdstk.Label('TM.4', (531.918,2706.378), layer=11, texttype=222))
topcell_tm.add(gdstk.Label('TM.3b', (-829.104,1911.738), layer=11, texttype=222))
topcell_tm.add(gdstk.Label('TM.7', (-429.407,4118.581), layer=11, texttype=222))
topcell_tm.add(gdstk.Label('TM.6', (-436.507,3503.77), layer=11, texttype=222))
topcell_tm.add(gdstk.Label('TM.4', (-439.929,2462.598), layer=11, texttype=222))
topcell_tm.add(gdstk.Label('TM.4', (274.038,2706.378), layer=11, texttype=222))
topcell_tm.add(gdstk.Label('TM.6', (1327.957,3516.457), layer=11, texttype=222))
topcell_tm.add(gdstk.Label('TM.7', (1339.943,4140.077), layer=11, texttype=222))
topcell_tm.add(gdstk.Label('TM.3', (-864.878,1357.631), layer=11, texttype=222))
topcell_tm.add(gdstk.Label('TM.5', (-37.51,3139.968), layer=12, texttype=222))
topcell_tm.add(gdstk.Label('Rules applies to PAD ONLY', (937.232,4119.91), layer=12, texttype=222))
topcell_tm.add(gdstk.Label('BROKEN GRING - GDRING will be added by GF', (628.687,2434.871), layer=12, texttype=222))
topcell_tm.add(gdstk.Label('TM.3', (6.569,1422.539), layer=12, texttype=222))
topcell_tm.add(gdstk.Label('TM.4', (-5.91,2595.078), layer=12, texttype=222))
topcell_tm.add(gdstk.Label('TM.1a', (10.47,335.499), layer=12, texttype=222))
topcell_tm.add(gdstk.Label('TM.1', (10.47,457.032), layer=12, texttype=222))
topcell_tm.add(gdstk.Label('TM.1_Note', (-5.606,55.146), layer=12, texttype=222))
topcell_tm.add(gdstk.Label('TM.9 & 10', (-110.613,5478.679), layer=12, texttype=222))
topcell_tm.add(gdstk.Label('TM.8', (-90.485,4876.766), layer=12, texttype=222))
topcell_tm.add(gdstk.Label('TM.2', (6.569,866.583), layer=12, texttype=222))
topcell_tm.add(gdstk.Label('TM.3b', (15.346,1999.929), layer=12, texttype=222))
topcell_tm.add(gdstk.Label('TM.6', (-90.485,3647.642), layer=12, texttype=222))
topcell_tm.add(gdstk.Label('TM.7', (-90.485,4253.091), layer=12, texttype=222))
topcell_tm.add(gdstk.Label('TM.1', (429.955,405.915), layer=0, texttype=0))
topcell_tm.add(gdstk.Label('TM.1', (429.925,395.17), layer=0, texttype=0))
topcell_tm.add(gdstk.Label('TM.1', (449.42,399.34), layer=0, texttype=0))
topcell_tm.add(gdstk.Label('TM.2', (888.531,846.618), layer=240, texttype=101))
topcell_tm.add(gdstk.Label('TM.2', (1037.531,845.618), layer=240, texttype=101))
topcell_tm.add(gdstk.Label('TM.3b', (902.309,1979.964), layer=240, texttype=101))
topcell_tm.add(gdstk.Label('TM.3b', (1044.009,1974.264), layer=240, texttype=101))
topcell_tm.add(gdstk.Label('TM.3b', (1177.009,1971.264), layer=240, texttype=101))

c_9_4_3_tm_9_4_5_pm = lib.new_cell('9_4_3_TM_9_4_5_PM')
c_9_4_3_tm_9_4_5_pm.add(gdstk.Reference(topcell_pm, (7.286,6023.732)))
c_9_4_3_tm_9_4_5_pm.add(gdstk.Reference(topcell_tm, (-1505.466,108.966)))

lib.write_gds('9_4_3_TM_9_4_5_PM.gds')
